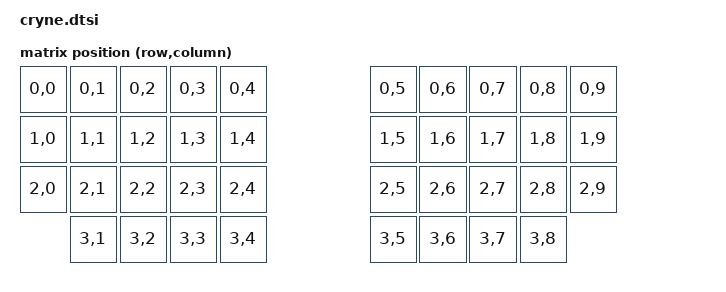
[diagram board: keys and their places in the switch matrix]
#include <dt-bindings/zmk/matrix_transform.h>

/ {
  chosen {
    zmk,kscan = &kscan0;
    zmk,matrix-transform = &default_transform;
  };

  split_central: split_central {
    compatible = "zmk,split-central";
  };

  split_peripheral: split_peripheral {
    compatible = "zmk,split-peripheral";
  };

  default_transform: keymap_transform0 {
    compatible = "zmk,matrix-transform";
    columns = <10>;
    rows = <4>;
    map = <
      //  Left side: Row 0 (5 keys)            //  Right side: Row 0 (5 keys)
      RC(0,0) RC(0,1) RC(0,2) RC(0,3) RC(0,4)  RC(0,5) RC(0,6) RC(0,7) RC(0,8) RC(0,9)
      //  Left side: Row 1 (5 keys)            //  Right side: Row 1 (5 keys)
      RC(1,0) RC(1,1) RC(1,2) RC(1,3) RC(1,4)  RC(1,5) RC(1,6) RC(1,7) RC(1,8) RC(1,9)
      //  Left side: Row 2 (5 keys)            //  Right side: Row 2 (5 keys)
      RC(2,0) RC(2,1) RC(2,2) RC(2,3) RC(2,4)  RC(2,5) RC(2,6) RC(2,7) RC(2,8) RC(2,9)
      //  Left side: Row 3 (4 keys - manca il  5o)      //  Right side: Row 3 (4 keys - manca il 1o)
      /*    */RC(3,1) RC(3,2) RC(3,3) RC(3,4)  RC(3,5) RC(3,6) RC(3,7) RC(3,8)
    >;
  };

  cryne_layout: cryne_layout {
    compatible = "zmk,physical-layout";
    display-name = "Cryne Layout";
    
    transform = <&default_transform>;
    
    kscan = <&kscan0>;
    
    keys  //                     w   h    x    y     rot    rx    ry
      = <&key_physical_attrs 100 100    0    0       0     0     0>  // Q
      , <&key_physical_attrs 100 100  100    0       0     0     0>  // W
      , <&key_physical_attrs 100 100  200    0       0     0     0>  // E
      , <&key_physical_attrs 100 100  300    0       0     0     0>  // R
      , <&key_physical_attrs 100 100  400    0       0     0     0>  // T
      , <&key_physical_attrs 100 100  700    0       0     0     0>  // Y
      , <&key_physical_attrs 100 100  800    0       0     0     0>  // U
      , <&key_physical_attrs 100 100  900    0       0     0     0>  // I
      , <&key_physical_attrs 100 100 1000    0       0     0     0>  // O
      , <&key_physical_attrs 100 100 1100    0       0     0     0>  // P
      , <&key_physical_attrs 100 100    0  100       0     0     0>  // A
      , <&key_physical_attrs 100 100  100  100       0     0     0>  // S
      , <&key_physical_attrs 100 100  200  100       0     0     0>  // D
      , <&key_physical_attrs 100 100  300  100       0     0     0>  // F
      , <&key_physical_attrs 100 100  400  100       0     0     0>  // G
      , <&key_physical_attrs 100 100  700  100       0     0     0>  // H
      , <&key_physical_attrs 100 100  800  100       0     0     0>  // J
      , <&key_physical_attrs 100 100  900  100       0     0     0>  // K
      , <&key_physical_attrs 100 100 1000  100       0     0     0>  // L
      , <&key_physical_attrs 100 100 1100  100       0     0     0>  // ;
      , <&key_physical_attrs 100 100    0  200       0     0     0>  // Z
      , <&key_physical_attrs 100 100  100  200       0     0     0>  // X
      , <&key_physical_attrs 100 100  200  200       0     0     0>  // C
      , <&key_physical_attrs 100 100  300  200       0     0     0>  // V
      , <&key_physical_attrs 100 100  400  200       0     0     0>  // B
      , <&key_physical_attrs 100 100  700  200       0     0     0>  // N
      , <&key_physical_attrs 100 100  800  200       0     0     0>  // M
      , <&key_physical_attrs 100 100  900  200       0     0     0>  // ,
      , <&key_physical_attrs 100 100 1000  200       0     0     0>  // .
      , <&key_physical_attrs 100 100 1100  200       0     0     0>  // /
      , <&key_physical_attrs 100 100  100  300       0     0     0>  // Lower L
      , <&key_physical_attrs 100 100  200  300       0     0     0>  // Raise L
      , <&key_physical_attrs 100 100  300  300       0     0     0>  // Space
      , <&key_physical_attrs 100 100  400  300       0     0     0>  // Tab
      , <&key_physical_attrs 100 100  700  300       0     0     0>  // Esc
      , <&key_physical_attrs 100 100  800  300       0     0     0>  // Enter
      , <&key_physical_attrs 100 100  900  300       0     0     0>  // Lower R
      , <&key_physical_attrs 100 100 1000  300       0     0     0>  // Backspace
      ;
  };

  kscan0: kscan0 {
    compatible = "zmk,kscan-gpio-matrix";
    diode-direction = "col2row";
    // wakeup-source;  // DISABLED - can cause issues with some clones

    // Debounce settings (prevent accidental double-press)
    debounce-press-ms = <5>;
    debounce-release-ms = <5>;
  };
};
